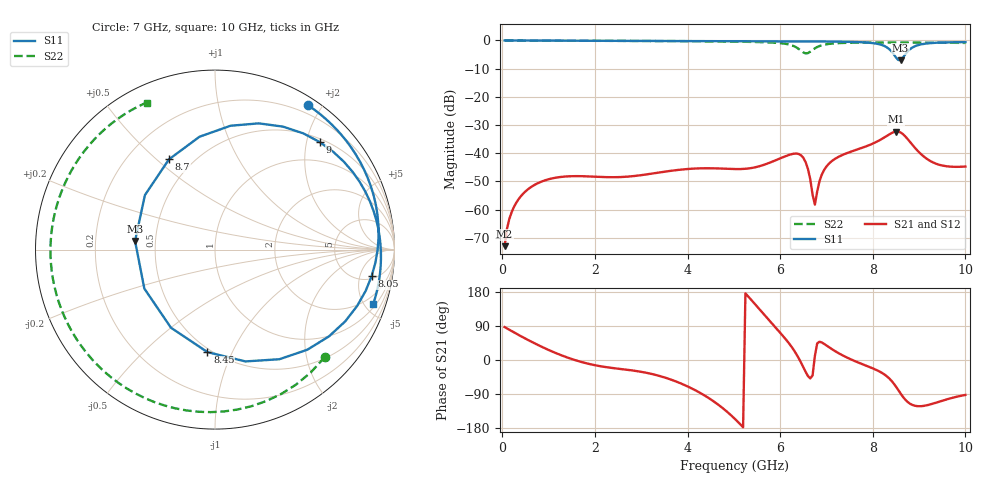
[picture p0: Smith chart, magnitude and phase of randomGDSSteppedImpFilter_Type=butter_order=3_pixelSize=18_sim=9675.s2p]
! freq	dB(S11)	phase(S11)	dB(S12)	phase(S12)
!  dB(S21)	phase(S21)	dB(S22)	phase(S22)
!S-par simulation data
#  GHz  S  DB  R 50
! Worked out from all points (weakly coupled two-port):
!   200 points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, 50 MHz to 10 GHz, reference 50 ohm
!   highest |S21| = -32.32 dB at 8.5 GHz (marker M1); lowest = -73.0 dB at 50 MHz (marker M2)
!   lowest |S11| = -7.0 dB at 8.6 GHz (marker M3), VSWR 2.62, Z = 19.1 + j2.31 ohm
!   |S11| at or under -10 dB: nowhere
!   |S22| runs from -4.6 to 0.0 dB; largest |S21 - S12| = 0
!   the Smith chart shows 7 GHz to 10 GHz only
!   S11 on the Smith chart (normalised r, x): 7 GHz: 0.10, +1.84; 8.05 GHz: 5.65, -7.75; 8.45 GHz: 0.48, -0.81; 8.7 GHz: 0.37, +0.55; 9 GHz: 0.56, +2.25; 10 GHz: 1.26, -5.77
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0.05  -0.00 -2.6  -72.97 86.9  -72.97 86.9  -0.00 -4.3
0.5  -0.03 -25.8  -53.56 56.4  -53.56 56.4  -0.05 -42.0
1.75  -0.10 -86.5  -48.16 -6.6  -48.16 -6.6  -0.13 -128.4
3.4  -0.17 -155.7  -46.81 -42.3  -46.81 -42.3  -0.20 144.3
4.3  -0.21 169.4  -45.35 -88.7  -45.35 -88.7  -0.29 91.5
5.05  -0.25 140.1  -45.63 -158.6  -45.63 -158.6  -0.42 35.7
5.6  -0.28 118.1  -44.38 127.3  -44.38 127.3  -0.60 -15.6
6.1  -0.31 97.3  -41.16 57.7  -41.16 57.7  -1.15 -79.5
6.3  -0.32 88.7  -40.16 25.3  -40.16 25.3  -2.05 -123.0
6.45  -0.33 82.2  -40.72 -6.8  -40.72 -6.8  -3.64 -180.0
6.6  -0.34 75.5  -45.56 -42.3  -45.56 -42.3  -4.48 89.7
6.7  -0.35 71.0  -54.70 -40.7  -54.70 -40.7  -3.37 36.1
7  -0.38 57.0  -44.70 38.3  -44.70 38.3  -1.35 -44.3
7.4  -0.46 36.7  -40.24 9.0  -40.24 9.0  -0.86 -91.5
8.05  -1.06 -9.7  -36.21 -24.7  -36.21 -24.7  -0.74 -138.6
8.35  -3.00 -59.6  -33.38 -48.0  -33.38 -48.0  -0.74 -156.1
8.45  -4.84 -94.2  -32.53 -61.7  -32.53 -61.7  -0.74 -161.6
8.5  -6.03 -119.4  -32.32 -70.1  -32.32 -70.1  -0.74 -164.4
8.6  -6.97 173.8  -32.63 -88.4  -32.63 -88.4  -0.75 -169.8
8.7  -4.97 117.1  -33.99 -104.4  -33.99 -104.4  -0.75 -175.1
9  -1.55 45.8  -39.66 -122.0  -39.66 -122.0  -0.77 169.3
10  -0.61 -18.8  -44.72 -92.1  -44.72 -92.1  -0.88 115.0
